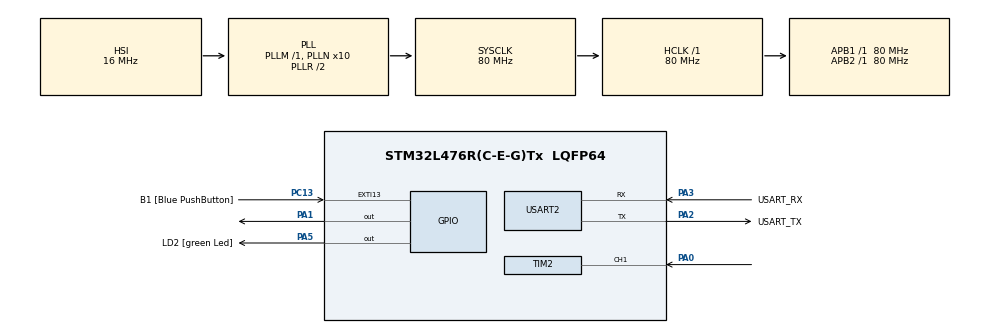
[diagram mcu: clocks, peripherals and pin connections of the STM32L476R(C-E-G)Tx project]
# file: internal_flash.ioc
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Mcu.Family=STM32L4
Mcu.Name=STM32L476R(C-E-G)Tx
Mcu.Package=LQFP64
NVIC.PriorityGroup=NVIC_PRIORITYGROUP_4
NVIC.TIM2_IRQn=true\:0\:0\:false\:false\:true\:true\:true\:true
PA0.Signal=S_TIM2_CH1
PA1.Signal=GPIO_Output
PA13\ (JTMS-SWDIO).GPIO_Label=TMS
PA13\ (JTMS-SWDIO).Mode=Serial_Wire
PA13\ (JTMS-SWDIO).Signal=SYS_JTMS-SWDIO
PA14\ (JTCK-SWCLK).GPIO_Label=TCK
PA14\ (JTCK-SWCLK).Mode=Serial_Wire
PA14\ (JTCK-SWCLK).Signal=SYS_JTCK-SWCLK
PA2.GPIO_Label=USART_TX
PA2.GPIO_Mode=GPIO_MODE_AF_PP
PA2.GPIO_PuPd=GPIO_NOPULL
PA2.GPIO_Speed=GPIO_SPEED_FREQ_VERY_HIGH
PA2.Mode=Asynchronous
PA2.Signal=USART2_TX
PA3.GPIO_Label=USART_RX
PA3.GPIO_Mode=GPIO_MODE_AF_PP
PA3.GPIO_PuPd=GPIO_NOPULL
PA3.GPIO_Speed=GPIO_SPEED_FREQ_VERY_HIGH
PA3.Mode=Asynchronous
PA3.Signal=USART2_RX
PA5.GPIO_Label=LD2 [green Led]
PA5.GPIO_ModeDefaultOutputPP=GPIO_MODE_OUTPUT_PP
PA5.GPIO_PuPd=GPIO_NOPULL
PA5.GPIO_Speed=GPIO_SPEED_FREQ_LOW
PA5.Signal=GPIO_Output
PB3\ (JTDO-TRACESWO).GPIO_Label=SWO
PB3\ (JTDO-TRACESWO).Signal=SYS_JTDO-SWO
PC13.GPIO_Label=B1 [Blue PushButton]
PC13.GPIO_ModeDefaultEXTI=GPIO_MODE_IT_FALLING
PC13.GPIO_PuPd=GPIO_NOPULL
PC13.Signal=GPXTI13
PC14-OSC32_IN\ (PC14).Mode=LSE-External-Oscillator
PC14-OSC32_IN\ (PC14).Signal=RCC_OSC32_IN
PC15-OSC32_OUT\ (PC15).Mode=LSE-External-Oscillator
PC15-OSC32_OUT\ (PC15).Signal=RCC_OSC32_OUT
PH0-OSC_IN\ (PH0).Signal=RCC_OSC_IN
PH1-OSC_OUT\ (PH1).Signal=RCC_OSC_OUT
ProjectManager.HeapSize=0x200
ProjectManager.StackSize=0x400
ProjectManager.TargetToolchain=STM32CubeIDE
RCC.ADCFreq_Value=64000000
RCC.AHBFreq_Value=80000000
RCC.APB1Freq_Value=80000000
RCC.APB1TimFreq_Value=80000000
RCC.APB2Freq_Value=80000000
RCC.APB2TimFreq_Value=80000000
RCC.CortexFreq_Value=80000000
RCC.HCLKFreq_Value=80000000
RCC.HSE_VALUE=8000000
RCC.HSI_VALUE=16000000
RCC.MSI_VALUE=4000000
RCC.PLLN=10
RCC.PLLSourceVirtual=RCC_PLLSOURCE_HSI
RCC.PREFETCH_ENABLE=1
RCC.SYSCLKFreq_VALUE=80000000
RCC.SYSCLKSource=RCC_SYSCLKSOURCE_PLLCLK
RCC.USBFreq_Value=64000000
RCC.VCOOutputFreq_Value=160000000
SH.S_TIM2_CH1.0=TIM2_CH1,Input_Capture1_from_TI1
TIM2.Channel-Input_Capture1_from_TI1=TIM_CHANNEL_1
TIM2.Prescaler=79
USART2.VirtualMode-Asynchronous=VM_ASYNC
VP_RTC_VS_RTC_Activate.Mode=RTC_Enabled
VP_RTC_VS_RTC_Calendar.Mode=RTC_Calendar
board=NUCLEO-L476RG

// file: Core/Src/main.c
/* USER CODE BEGIN Header */
/**
  ******************************************************************************
  * @file           : main.c
  * @brief          : Main program body
  ******************************************************************************
  * @attention
  *
  * Copyright (c) 2025 STMicroelectronics.
  * All rights reserved.
  *
  * This software is licensed under terms that can be found in the LICENSE file
  * in the root directory of this software component.
  * If no LICENSE file comes with this software, it is provided AS-IS.
  *
  ******************************************************************************
  */
/* USER CODE END Header */
#include "main.h"

/* USER CODE BEGIN Includes */
#define FLASH_USER_START_ADDR   0x080FF800// Start address for storing logs in internal flash
#include<string.h>
#include<stdio.h>
/* USER CODE END Includes */

RTC_HandleTypeDef hrtc;         // RTC handle
TIM_HandleTypeDef htim2;        // Timer handle for input capture
UART_HandleTypeDef huart2;      // UART handle for debugging
/* USER CODE BEGIN PV */
uint32_t ic_val1 = 0;           // First captured timer value
uint32_t ic_val2 = 0;           // Second captured timer value
uint32_t diff = 0;               // Difference between capture values
uint8_t is_first_capture = 0;   // Flag for first capture
float distance_cm = 0;           // Calculated distance in cm
#define THRESHOLD_CM 20.0f       // Threshold distance to detect object
uint8_t object_present = 0;      // Current object state
uint8_t object_previous = 0;     // Previous object state
char msg[64];                    // General message buffer
RTC_TimeTypeDef sTime;           // RTC time
RTC_DateTypeDef sDate;           // RTC date
char timestamp[32];              // String timestamp
uint32_t current_address = FLASH_USER_START_ADDR;  // Current flash write address

/* USER CODE END PV */

void SystemClock_Config(void);
static void MX_GPIO_Init(void);
static void MX_USART2_UART_Init(void);
static void MX_RTC_Init(void);
static void MX_TIM2_Init(void);

/* USER CODE BEGIN 0 */

// Trigger HC-SR04 ultrasonic sensor
void HCSR04_Trigger(void)
{
  HAL_GPIO_WritePin(GPIOA, GPIO_PIN_1, GPIO_PIN_SET);  // TRIG high
  for (volatile int i = 0; i < 160; i++);             // ~10 µs delay
  HAL_GPIO_WritePin(GPIOA, GPIO_PIN_1, GPIO_PIN_RESET); // TRIG low
}
// Start measurement
void Start_HCSR04(void)
{
  is_first_capture = 0;
  HAL_TIM_IC_Start_IT(&htim2, TIM_CHANNEL_1);// Start input capture interrupt
  HCSR04_Trigger();
}

// Timer callback for capturing echo pulse
void HAL_TIM_IC_CaptureCallback(TIM_HandleTypeDef *htim)
{
  if (htim->Channel == HAL_TIM_ACTIVE_CHANNEL_1)
  {
    if (is_first_capture == 0)  // Rising edge detected
    {
      ic_val1 = HAL_TIM_ReadCapturedValue(htim, TIM_CHANNEL_1);
      __HAL_TIM_SET_CAPTUREPOLARITY(htim, TIM_CHANNEL_1, TIM_INPUTCHANNELPOLARITY_FALLING);
      is_first_capture = 1;
    }
    else if (is_first_capture == 1) // Falling edge detected
    {
      ic_val2 = HAL_TIM_ReadCapturedValue(htim, TIM_CHANNEL_1);
      __HAL_TIM_SET_CAPTUREPOLARITY(htim, TIM_CHANNEL_1, TIM_INPUTCHANNELPOLARITY_RISING);

      HAL_TIM_IC_Stop_IT(htim, TIM_CHANNEL_1); // Stop timer interrupt

      // Calculate pulse duration
      if (ic_val2 > ic_val1)
        diff = ic_val2 - ic_val1;
      else
        diff = (0xFFFF - ic_val1 + ic_val2);

      distance_cm = (float)diff * 0.0343 / 2.0; // Convert time to distance
    }
  }
}

// Write log string to internal flash
void Write_Timestamp_To_Flash(char *log)
{
    HAL_FLASH_Unlock(); // Unlock flash for writing

    uint64_t *data_ptr = (uint64_t *)log;
    size_t len = strlen(log);
    size_t double_word_count = (len + 7) / 8; // Number of 8-byte chunks

    for (size_t i = 0; i < double_word_count; i++)
    {
        if (HAL_FLASH_Program(FLASH_TYPEPROGRAM_DOUBLEWORD, current_address, data_ptr[i]) != HAL_OK)
        {
            HAL_UART_Transmit(&huart2, (uint8_t *)"Flash write failed\r\n", 20, HAL_MAX_DELAY);
            break;
        }
        HAL_UART_Transmit(&huart2, (uint8_t *)"Flash write success\r\n", 20, HAL_MAX_DELAY);
        current_address += 8;
        if (current_address + len >= 0x08100000) // Prevent writing beyond flash
        {
            HAL_UART_Transmit(&huart2, (uint8_t *)"Flash full\r\n", 12, HAL_MAX_DELAY);
            HAL_FLASH_Lock();
            return;
        }
    }

    HAL_FLASH_Lock(); // Lock flash after writing
}

// Read and print logs from internal flash
void Read_Logs_From_Flash(void)
{
    char log_buffer[64];
    uint32_t read_addr = FLASH_USER_START_ADDR;

    while (read_addr < current_address)
    {
    	memset(log_buffer, 0, sizeof(log_buffer));
        memcpy(log_buffer, (char *)read_addr, 64);
        HAL_UART_Transmit(&huart2, (uint8_t *)"Read: ", 6, 2000);
        HAL_UART_Transmit(&huart2, (uint8_t *)log_buffer, strlen(log_buffer), HAL_MAX_DELAY);
        read_addr += 64;
    }
}

/* USER CODE END 0 */

int main(void)
{

  /* MCU Configuration--------------------------------------------------------*/

  /* Reset of all peripherals, Initializes the Flash interface and the Systick. */
  HAL_Init();

  /* Configure the system clock */
  SystemClock_Config();

  /* Initialize all configured peripherals */
  MX_GPIO_Init();
  MX_USART2_UART_Init();
  MX_RTC_Init();
  MX_TIM2_Init();
  /* USER CODE BEGIN 2 */
    // Erase flash page for storing logs
  HAL_FLASH_Unlock();
  FLASH_EraseInitTypeDef EraseInitStruct;
  uint32_t PageError = 0;

  EraseInitStruct.TypeErase   = FLASH_TYPEERASE_PAGES;
  EraseInitStruct.Page        = ((FLASH_USER_START_ADDR - FLASH_BASE) / FLASH_PAGE_SIZE);
  EraseInitStruct.NbPages     = 1;

  if (HAL_FLASHEx_Erase(&EraseInitStruct, &PageError) != HAL_OK)
  {
	  HAL_UART_Transmit(&huart2,(uint8_t *)"failed\r\n",8 , 2000);
  }

  /* USER CODE END 2 */

  /* Infinite loop */
  while (1)
  {
    // Get current time and date
	      HAL_RTC_GetTime(&hrtc, &sTime, RTC_FORMAT_BIN);
	  	  HAL_RTC_GetDate(&hrtc, &sDate, RTC_FORMAT_BIN);  // Must be called right after time
	  	  snprintf(timestamp, sizeof(timestamp), "%02d:%02d:%02d",sTime.Hours, sTime.Minutes, sTime.Seconds);
           // Measure distance
	  	  Start_HCSR04();

	  	   char buffer[50];
	  	   char tx_data1[70];
	  	   snprintf(buffer, sizeof(buffer), "Distance: %.2f cm\r\n", distance_cm);
	  	   HAL_UART_Transmit(&huart2, (uint8_t*)buffer, strlen(buffer), 2000);
	  	   HAL_Delay(2000);
         // Check if object is present
	  	   if (distance_cm < THRESHOLD_CM)
	     	 	     object_present = 1;
	  	   else
	  	      	 object_present = 0;
        // Detect IN event
	  	   if (object_present && !object_previous)
	  	   {
	  	      	HAL_GPIO_WritePin(GPIOA, LD2_Pin, GPIO_PIN_SET);
	  	      	snprintf(tx_data1, sizeof(tx_data1), "IN [%s]: %.2f cm\r\n", timestamp, distance_cm);
	  	      	Write_Timestamp_To_Flash(tx_data1);
	  	        HAL_Delay(100);
	  	        Read_Logs_From_Flash();
	  	      }
            // Detect OUT event
	  	     else if (!object_present && object_previous)
	  	     {
	  	      	HAL_GPIO_WritePin(GPIOA, LD2_Pin, GPIO_PIN_RESET);
	  	      	snprintf(tx_data1, sizeof(tx_data1), "OUT [%s]: %.2f cm\r\n", timestamp, distance_cm);
	  	      	Write_Timestamp_To_Flash(tx_data1);
	  	        HAL_Delay(100);
	  	        Read_Logs_From_Flash();
	  	      }

	  	     object_previous = object_present;
	  	     HAL_Delay(100);  // Sampling interval
  }
}

void SystemClock_Config(void)
{
  RCC_OscInitTypeDef RCC_OscInitStruct = {0};
  RCC_ClkInitTypeDef RCC_ClkInitStruct = {0};

  /** Configure the main internal regulator output voltage
  */
  if (HAL_PWREx_ControlVoltageScaling(PWR_REGULATOR_VOLTAGE_SCALE1) != HAL_OK)
  {
    Error_Handler();
  }

  /** Initializes the RCC Oscillators according to the specified parameters
  * in the RCC_OscInitTypeDef structure.
  */
  RCC_OscInitStruct.OscillatorType = RCC_OSCILLATORTYPE_HSI|RCC_OSCILLATORTYPE_LSI;
  RCC_OscInitStruct.HSIState = RCC_HSI_ON;
  RCC_OscInitStruct.HSICalibrationValue = RCC_HSICALIBRATION_DEFAULT;
  RCC_OscInitStruct.LSIState = RCC_LSI_ON;
  RCC_OscInitStruct.PLL.PLLState = RCC_PLL_ON;
  RCC_OscInitStruct.PLL.PLLSource = RCC_PLLSOURCE_HSI;
  RCC_OscInitStruct.PLL.PLLM = 1;
  RCC_OscInitStruct.PLL.PLLN = 10;
  RCC_OscInitStruct.PLL.PLLP = RCC_PLLP_DIV7;
  RCC_OscInitStruct.PLL.PLLQ = RCC_PLLQ_DIV2;
  RCC_OscInitStruct.PLL.PLLR = RCC_PLLR_DIV2;
  if (HAL_RCC_OscConfig(&RCC_OscInitStruct) != HAL_OK)
  {
    Error_Handler();
  }

  /** Initializes the CPU, AHB and APB buses clocks
  */
  RCC_ClkInitStruct.ClockType = RCC_CLOCKTYPE_HCLK|RCC_CLOCKTYPE_SYSCLK
                              |RCC_CLOCKTYPE_PCLK1|RCC_CLOCKTYPE_PCLK2;
  RCC_ClkInitStruct.SYSCLKSource = RCC_SYSCLKSOURCE_PLLCLK;
  RCC_ClkInitStruct.AHBCLKDivider = RCC_SYSCLK_DIV1;
  RCC_ClkInitStruct.APB1CLKDivider = RCC_HCLK_DIV1;
  RCC_ClkInitStruct.APB2CLKDivider = RCC_HCLK_DIV1;

  if (HAL_RCC_ClockConfig(&RCC_ClkInitStruct, FLASH_LATENCY_4) != HAL_OK)
  {
    Error_Handler();
  }
}

static void MX_RTC_Init(void)
{

  RTC_TimeTypeDef sTime = {0};
  RTC_DateTypeDef sDate = {0};

  /** Initialize RTC Only
  */
  hrtc.Instance = RTC;
  hrtc.Init.HourFormat = RTC_HOURFORMAT_24;
  hrtc.Init.AsynchPrediv = 127;
  hrtc.Init.SynchPrediv = 255;
  hrtc.Init.OutPut = RTC_OUTPUT_DISABLE;
  hrtc.Init.OutPutRemap = RTC_OUTPUT_REMAP_NONE;
  hrtc.Init.OutPutPolarity = RTC_OUTPUT_POLARITY_HIGH;
  hrtc.Init.OutPutType = RTC_OUTPUT_TYPE_OPENDRAIN;
  if (HAL_RTC_Init(&hrtc) != HAL_OK)
  {
    Error_Handler();
  }

  /** Initialize RTC and set the Time and Date
  */
  sTime.Hours = 0x0;
  sTime.Minutes = 0x0;
  sTime.Seconds = 0x0;
  sTime.DayLightSaving = RTC_DAYLIGHTSAVING_NONE;
  sTime.StoreOperation = RTC_STOREOPERATION_RESET;
  if (HAL_RTC_SetTime(&hrtc, &sTime, RTC_FORMAT_BCD) != HAL_OK)
  {
    Error_Handler();
  }
  sDate.WeekDay = RTC_WEEKDAY_MONDAY;
  sDate.Month = RTC_MONTH_JANUARY;
  sDate.Date = 0x1;
  sDate.Year = 0x0;

  if (HAL_RTC_SetDate(&hrtc, &sDate, RTC_FORMAT_BCD) != HAL_OK)
  {
    Error_Handler();
  }

}

static void MX_TIM2_Init(void)
{

  TIM_MasterConfigTypeDef sMasterConfig = {0};
  TIM_IC_InitTypeDef sConfigIC = {0};

  htim2.Instance = TIM2;
  htim2.Init.Prescaler = 79;
  htim2.Init.CounterMode = TIM_COUNTERMODE_UP;
  htim2.Init.Period = 4294967295;
  htim2.Init.ClockDivision = TIM_CLOCKDIVISION_DIV1;
  htim2.Init.AutoReloadPreload = TIM_AUTORELOAD_PRELOAD_DISABLE;
  if (HAL_TIM_IC_Init(&htim2) != HAL_OK)
  {
    Error_Handler();
  }
  sMasterConfig.MasterOutputTrigger = TIM_TRGO_RESET;
  sMasterConfig.MasterSlaveMode = TIM_MASTERSLAVEMODE_DISABLE;
  if (HAL_TIMEx_MasterConfigSynchronization(&htim2, &sMasterConfig) != HAL_OK)
  {
    Error_Handler();
  }
  sConfigIC.ICPolarity = TIM_INPUTCHANNELPOLARITY_RISING;
  sConfigIC.ICSelection = TIM_ICSELECTION_DIRECTTI;
  sConfigIC.ICPrescaler = TIM_ICPSC_DIV1;
  sConfigIC.ICFilter = 0;
  if (HAL_TIM_IC_ConfigChannel(&htim2, &sConfigIC, TIM_CHANNEL_1) != HAL_OK)
  {
    Error_Handler();
  }

}

static void MX_USART2_UART_Init(void)
{

  huart2.Instance = USART2;
  huart2.Init.BaudRate = 115200;
  huart2.Init.WordLength = UART_WORDLENGTH_8B;
  huart2.Init.StopBits = UART_STOPBITS_1;
  huart2.Init.Parity = UART_PARITY_NONE;
  huart2.Init.Mode = UART_MODE_TX_RX;
  huart2.Init.HwFlowCtl = UART_HWCONTROL_NONE;
  huart2.Init.OverSampling = UART_OVERSAMPLING_16;
  huart2.Init.OneBitSampling = UART_ONE_BIT_SAMPLE_DISABLE;
  huart2.AdvancedInit.AdvFeatureInit = UART_ADVFEATURE_NO_INIT;
  if (HAL_UART_Init(&huart2) != HAL_OK)
  {
    Error_Handler();
  }

}

static void MX_GPIO_Init(void)
{
  GPIO_InitTypeDef GPIO_InitStruct = {0};

  /* GPIO Ports Clock Enable */
  __HAL_RCC_GPIOC_CLK_ENABLE();
  __HAL_RCC_GPIOH_CLK_ENABLE();
  __HAL_RCC_GPIOA_CLK_ENABLE();
  __HAL_RCC_GPIOB_CLK_ENABLE();

  /*Configure GPIO pin Output Level */
  HAL_GPIO_WritePin(GPIOA, GPIO_PIN_1|LD2_Pin, GPIO_PIN_RESET);

  /*Configure GPIO pin : B1_Pin */
  GPIO_InitStruct.Pin = B1_Pin;
  GPIO_InitStruct.Mode = GPIO_MODE_IT_FALLING;
  GPIO_InitStruct.Pull = GPIO_NOPULL;
  HAL_GPIO_Init(B1_GPIO_Port, &GPIO_InitStruct);

  /*Configure GPIO pins : PA1 LD2_Pin */
  GPIO_InitStruct.Pin = GPIO_PIN_1|LD2_Pin;
  GPIO_InitStruct.Mode = GPIO_MODE_OUTPUT_PP;
  GPIO_InitStruct.Pull = GPIO_NOPULL;
  GPIO_InitStruct.Speed = GPIO_SPEED_FREQ_LOW;
  HAL_GPIO_Init(GPIOA, &GPIO_InitStruct);

}

void Error_Handler(void)
{
  __disable_irq();
  while (1)
  {
  }
}
